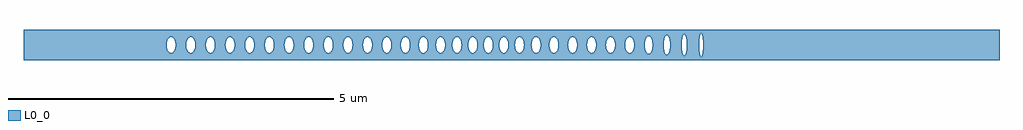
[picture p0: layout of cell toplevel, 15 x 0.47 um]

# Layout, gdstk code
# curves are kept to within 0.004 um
import gdstk
lib = gdstk.Library(unit=1e-6, precision=1e-09)
def P(c, l, *ps):  # polygons
    for p in ps: c.add(gdstk.Polygon(p, *l))
L0_0 = (0, 0)

toplevel = lib.new_cell('toplevel')
P(toplevel, L0_0, [(-4.697,0.016),(-4.685,0.073),(-4.672,0.096),(-4.672,0.235),(-7.5,0.235),(-7.5,-0.016),(-5.302,-0.016),(-5.299,0.038),(-5.289,0.073),(-5.266,0.109),(-5.236,0.124),(-5.21,0.118),(-5.18,0.085),(-5.163,0.031),(-5.162,-0.016),(-5,-0.016),(-4.997,0.038),(-4.987,0.073),(-4.964,0.109),(-4.934,0.124),(-4.908,0.118),(-4.881,0.09),(-4.864,0.046),(-4.859,0.008),(-4.861,-0.031),(-4.875,-0.079),(-4.896,-0.109),(-4.925,-0.124),(-4.951,-0.118),(-4.975,-0.096),(-4.987,-0.073),(-5,-0.016),(-5.162,-0.016),(-5.166,-0.046),(-5.183,-0.09),(-5.198,-0.109),(-5.227,-0.124),(-5.253,-0.118),(-5.277,-0.096),(-5.289,-0.073),(-5.302,-0.016),(-7.5,-0.016),(-7.5,-0.235),(-4.672,-0.235),(-4.672,-0.096),(-4.695,-0.038)],
  [(-4.665,0.105),(-4.632,0.124),(-4.614,0.122),(-4.59,0.105),(-4.566,0.06),(-4.557,-0.008),(-4.396,-0.008),(-4.391,0.046),(-4.374,0.09),(-4.347,0.118),(-4.33,0.124),(-4.312,0.122),(-4.288,0.105),(-4.268,0.073),(-4.258,0.038),(-4.255,-0.008),(-4.258,-0.038),(-4.274,-0.085),(-4.295,-0.112),(-4.321,-0.124),(-4.347,-0.118),(-4.374,-0.09),(-4.391,-0.046),(-4.396,-0.008),(-4.557,-0.008),(-4.568,-0.066),(-4.594,-0.109),(-4.614,-0.122),(-4.632,-0.124),(-4.658,-0.112),(-4.672,-0.096),(-4.672,-0.235),(-3.997,-0.235),(-3.997,-0.115),(-4.028,-0.124),(-4.061,-0.105),(-4.083,-0.066),(-4.094,-0.008),(-4.089,0.046),(-4.065,0.1),(-4.045,0.118),(-4.028,0.124),(-3.997,0.115),(-3.997,0.235),(-4.672,0.235),(-4.672,0.096)],
  [(-3.355,-0.053),(-3.385,-0.109),(-3.41,-0.123),(-3.437,-0.12),(-3.457,-0.105),(-3.474,-0.079),(-3.485,-0.046),(-3.49,0.008),(-3.485,0.046),(-3.471,0.085),(-3.453,0.109),(-3.424,0.124),(-3.406,0.122),(-3.381,0.105),(-3.362,0.073),(-3.351,0.031),(-3.351,0.235),(-3.997,0.235),(-3.997,0.115),(-3.978,0.096),(-3.966,0.073),(-3.956,0.038),(-3.953,-0.008),(-3.792,-0.008),(-3.79,0.031),(-3.776,0.079),(-3.755,0.109),(-3.726,0.124),(-3.7,0.118),(-3.676,0.096),(-3.664,0.073),(-3.651,0.016),(-3.654,-0.038),(-3.664,-0.073),(-3.687,-0.109),(-3.717,-0.124),(-3.743,-0.118),(-3.77,-0.09),(-3.787,-0.046),(-3.792,-0.008),(-3.953,-0.008),(-3.966,-0.073),(-3.978,-0.096),(-3.997,-0.115),(-3.997,-0.235),(-3.351,-0.235),(-3.351,-0.034)],
  [(-3.35,-0.023),(-3.351,-0.235),(-2.573,-0.235),(-2.573,-0.066),(-2.583,-0.016),(-2.573,0.065),(-2.573,0.235),(-3.351,0.235),(-3.349,0),(-3.188,0),(-3.183,0.046),(-3.169,0.085),(-3.151,0.109),(-3.122,0.124),(-3.095,0.118),(-3.072,0.096),(-3.053,0.053),(-3.047,0),(-2.886,0),(-2.877,0.06),(-2.857,0.1),(-2.828,0.122),(-2.793,0.118),(-2.77,0.096),(-2.753,0.06),(-2.745,-0.016),(-2.751,-0.053),(-2.764,-0.085),(-2.781,-0.109),(-2.802,-0.122),(-2.833,-0.12),(-2.86,-0.096),(-2.881,-0.046),(-2.886,0),(-3.047,0),(-3.053,-0.053),(-3.066,-0.085),(-3.083,-0.109),(-3.113,-0.124),(-3.139,-0.118),(-3.169,-0.085),(-3.183,-0.046),(-3.188,0),(-3.349,0)],
  [(-2.57,0.073),(-2.558,0.096),(-2.535,0.118),(-2.5,0.122),(-2.475,0.105),(-2.456,0.073),(-2.446,0.038),(-2.443,-0.008),(-2.283,-0.008),(-2.278,0.046),(-2.264,0.085),(-2.234,0.118),(-2.208,0.124),(-2.178,0.109),(-2.155,0.073),(-2.145,0.038),(-2.142,-0.016),(-2.155,-0.073),(-2.167,-0.096),(-2.186,-0.115),(-2.208,-0.124),(-2.234,-0.118),(-2.261,-0.09),(-2.278,-0.046),(-2.283,-0.008),(-2.443,-0.008),(-2.449,-0.053),(-2.462,-0.085),(-2.479,-0.109),(-2.504,-0.123),(-2.526,-0.122),(-2.547,-0.109),(-2.573,-0.067),(-2.573,-0.235),(-1.904,-0.235),(-1.904,-0.122),(-1.93,-0.122),(-1.962,-0.096),(-1.974,-0.073),(-1.987,-0.016),(-1.984,0.038),(-1.962,0.096),(-1.93,0.122),(-1.904,0.122),(-1.904,0.235),(-2.573,0.235)],
  [(-1.904,0.235),(-1.904,0.122),(-1.879,0.105),(-1.862,0.079),(-1.848,0.031),(-1.847,-0.016),(-1.7,-0.016),(-1.697,0.038),(-1.687,0.073),(-1.664,0.109),(-1.634,0.124),(-1.608,0.118),(-1.585,0.096),(-1.568,0.06),(-1.56,0.016),(-1.564,-0.046),(-1.573,-0.073),(-1.596,-0.109),(-1.626,-0.124),(-1.652,-0.118),(-1.675,-0.096),(-1.692,-0.06),(-1.7,-0.016),(-1.847,-0.016),(-1.865,-0.085),(-1.883,-0.109),(-1.904,-0.122),(-1.904,-0.235),(-1.289,-0.235),(-1.289,-0.046),(-1.297,-0.073),(-1.32,-0.109),(-1.341,-0.122),(-1.368,-0.122),(-1.388,-0.109),(-1.406,-0.085),(-1.42,-0.046),(-1.425,-0.008),(-1.423,0.031),(-1.409,0.079),(-1.392,0.105),(-1.368,0.122),(-1.341,0.122),(-1.32,0.109),(-1.297,0.073),(-1.289,0.046),(-1.289,0.235)],
  [(-0.664,0.016),(-0.656,0.059),(-0.656,0.235),(-1.289,0.235),(-1.284,-0.016),(-1.161,-0.016),(-1.158,0.038),(-1.148,0.073),(-1.125,0.109),(-1.095,0.124),(-1.069,0.118),(-1.042,0.09),(-1.025,0.046),(-1.02,0),(-0.909,0),(-0.904,0.046),(-0.889,0.085),(-0.872,0.109),(-0.843,0.124),(-0.816,0.118),(-0.793,0.096),(-0.776,0.06),(-0.768,0.016),(-0.771,-0.038),(-0.781,-0.073),(-0.804,-0.109),(-0.834,-0.124),(-0.86,-0.118),(-0.883,-0.096),(-0.904,-0.046),(-0.909,0),(-1.02,0),(-1.025,-0.046),(-1.039,-0.085),(-1.057,-0.109),(-1.086,-0.124),(-1.112,-0.118),(-1.136,-0.096),(-1.148,-0.073),(-1.161,-0.016),(-1.284,-0.016),(-1.289,-0.046),(-1.289,-0.235),(-0.656,-0.235),(-0.656,-0.06),(-0.664,-0.023)],
  [(-0.654,0.066),(-0.628,0.109),(-0.608,0.122),(-0.581,0.122),(-0.56,0.109),(-0.537,0.073),(-0.526,0.031),(-0.525,-0.016),(-0.426,-0.016),(-0.423,0.038),(-0.407,0.085),(-0.378,0.118),(-0.351,0.124),(-0.322,0.109),(-0.304,0.085),(-0.29,0.046),(-0.285,0),(-0.29,-0.046),(-0.304,-0.085),(-0.322,-0.109),(-0.351,-0.124),(-0.378,-0.118),(-0.401,-0.096),(-0.418,-0.06),(-0.426,-0.016),(-0.525,-0.016),(-0.529,-0.046),(-0.546,-0.09),(-0.56,-0.109),(-0.59,-0.124),(-0.608,-0.122),(-0.628,-0.109),(-0.656,-0.06),(-0.656,-0.235),(-0.132,-0.235),(-0.132,-0.122),(-0.153,-0.109),(-0.17,-0.085),(-0.189,-0.016),(-0.186,0.038),(-0.176,0.073),(-0.153,0.109),(-0.132,0.122),(-0.132,0.235),(-0.656,0.235)],
  [(0.308,0.016),(0.321,0.073),(0.336,0.1),(0.356,0.118),(0.373,0.124),(0.391,0.122),(0.423,0.096),(0.423,0.235),(-0.132,0.235),(-0.132,0.122),(-0.105,0.122),(-0.074,0.096),(-0.053,0.046),(-0.048,0),(0.052,0),(0.057,0.046),(0.071,0.085),(0.089,0.109),(0.118,0.124),(0.145,0.118),(0.168,0.096),(0.185,0.06),(0.193,0.016),(0.19,-0.038),(0.18,-0.073),(0.157,-0.109),(0.127,-0.124),(0.101,-0.118),(0.071,-0.085),(0.057,-0.046),(0.052,0),(-0.048,0),(-0.053,-0.046),(-0.074,-0.096),(-0.105,-0.122),(-0.132,-0.122),(-0.132,-0.235),(0.423,-0.235),(0.423,-0.096),(0.4,-0.118),(0.382,-0.124),(0.365,-0.122),(0.344,-0.109),(0.316,-0.06)],
  [(0.869,0.016),(0.887,0.085),(0.905,0.109),(0.934,0.124),(0.961,0.118),(0.984,0.096),(1.001,0.06),(1.008,0.023),(1.008,0.235),(0.423,0.235),(0.423,0.096),(0.442,0.053),(0.448,-0.008),(0.581,-0.008),(0.583,0.031),(0.597,0.079),(0.618,0.109),(0.647,0.124),(0.678,0.115),(0.7,0.09),(0.717,0.046),(0.722,0.008),(0.719,-0.038),(0.709,-0.073),(0.686,-0.109),(0.656,-0.124),(0.63,-0.118),(0.603,-0.09),(0.586,-0.046),(0.581,-0.008),(0.448,-0.008),(0.442,-0.053),(0.423,-0.096),(0.423,-0.235),(1.008,-0.235),(1.008,-0.026),(0.996,-0.073),(0.977,-0.105),(0.952,-0.122),(0.926,-0.122),(0.901,-0.105),(0.879,-0.066)],
  [(1.008,-0.235),(1.768,-0.235),(1.768,-0.09),(1.746,-0.016),(1.749,0.038),(1.768,0.09),(1.768,0.235),(1.008,0.235),(1.009,-0.016),(1.16,-0.016),(1.163,0.038),(1.173,0.073),(1.196,0.109),(1.226,0.124),(1.252,0.118),(1.279,0.09),(1.296,0.046),(1.301,0),(1.451,0),(1.456,0.046),(1.47,0.085),(1.488,0.109),(1.517,0.124),(1.544,0.118),(1.567,0.096),(1.584,0.06),(1.592,0.016),(1.589,-0.038),(1.579,-0.073),(1.556,-0.109),(1.526,-0.124),(1.5,-0.118),(1.47,-0.085),(1.456,-0.046),(1.451,0),(1.301,0),(1.296,-0.046),(1.282,-0.085),(1.264,-0.109),(1.235,-0.124),(1.209,-0.118),(1.185,-0.096),(1.173,-0.073),(1.16,-0.016),(1.009,-0.016)],
  [(2.338,0.019),(2.345,0.081),(2.358,0.123),(2.378,0.149),(2.391,0.152),(2.401,0.147),(2.401,0.235),(1.768,0.235),(1.768,0.09),(1.782,0.109),(1.807,0.123),(1.83,0.122),(1.85,0.109),(1.878,0.06),(1.886,0.023),(1.886,-0.017),(2.048,-0.017),(2.053,0.059),(2.064,0.095),(2.082,0.125),(2.104,0.138),(2.127,0.131),(2.15,0.101),(2.163,0.059),(2.169,0.009),(2.166,-0.043),(2.15,-0.101),(2.134,-0.125),(2.112,-0.138),(2.089,-0.131),(2.067,-0.101),(2.053,-0.059),(2.048,-0.017),(1.886,-0.017),(1.871,-0.079),(1.838,-0.118),(1.821,-0.124),(1.803,-0.122),(1.782,-0.109),(1.768,-0.09),(1.768,-0.235),(2.401,-0.235),(2.401,-0.147),(2.385,-0.152),(2.372,-0.145),(2.353,-0.111),(2.342,-0.065)],
  [(2.434,-0.065),(2.423,-0.111),(2.401,-0.147),(2.401,-0.235),(7.5,-0.235),(7.5,0.235),(2.401,0.235),(2.401,0.147),(2.418,0.123),(2.431,0.081),(2.438,0.028),(2.437,-0.031),(2.615,-0.031),(2.615,0.031),(2.624,0.106),(2.638,0.15),(2.653,0.166),(2.661,0.165),(2.673,0.15),(2.687,0.106),(2.696,-0.011),(2.884,-0.011),(2.888,0.087),(2.902,0.163),(2.911,0.179),(2.921,0.177),(2.932,0.152),(2.94,0.106),(2.946,0.023),(2.944,-0.066),(2.932,-0.152),(2.917,-0.18),(2.909,-0.177),(2.902,-0.163),(2.894,-0.131),(2.884,-0.011),(2.696,-0.011),(2.687,-0.106),(2.673,-0.15),(2.658,-0.166),(2.645,-0.161),(2.63,-0.128),(2.615,-0.031),(2.437,-0.031)])

lib.write_gds('toplevel.gds')
